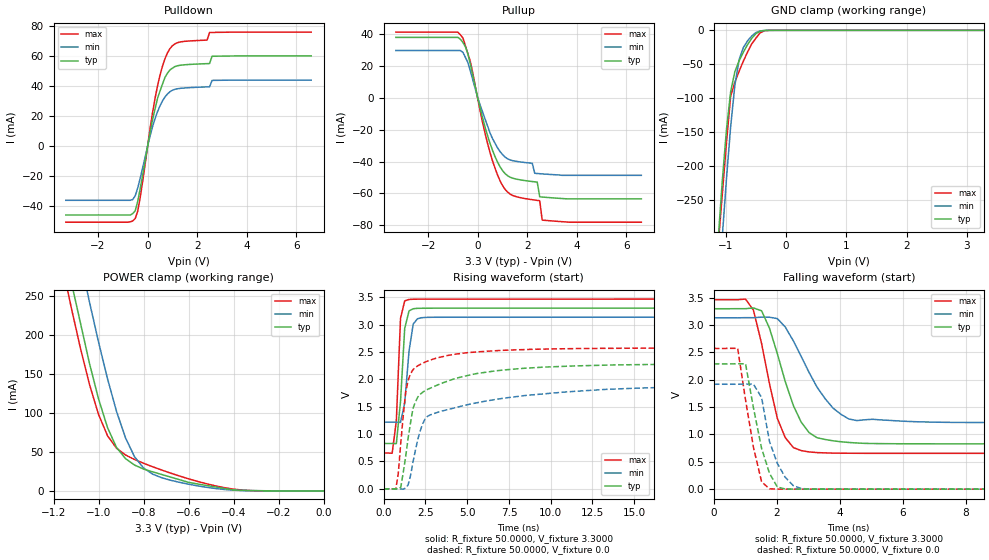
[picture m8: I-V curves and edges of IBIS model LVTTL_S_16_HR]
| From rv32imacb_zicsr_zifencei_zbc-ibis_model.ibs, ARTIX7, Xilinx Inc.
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[Model]  LVTTL_S_16_HR
Model_type I/O
Polarity   Non-Inverting
Enable   Active-Low
Vinl =   0.8000V
Vinh =   2.0000V
Vmeas =  1.4000V
Cref =   0.0F
Rref =   1.0000M
Vref =   0.0V
C_comp   5.2300pF   5.1900pF   5.3600pF
[Temperature Range]   25.0000   85.0000   0.0
[Voltage Range]   3.3000V   3.1350V   3.46500V
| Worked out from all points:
|   slope of the pulldown table from 0 to 0.495 V, typ, clamps not added: 13.5 ohm
|   slope of the pullup table from 0 to 0.495 V, typ, clamps not added: 17.4 ohm
|   GND clamp passes 1 mA (typ) near -0.41 V on its own axis
|   POWER clamp passes 1 mA (typ) near -0.38 V on its own axis
|   rising waveform, R_fixture 50.0000, V_fixture 3.3000: 20-80 % time 315ps typ, 369ps min, 234ps max; typ from 0.829 V to 3.3 V
|   rising waveform, R_fixture 50.0000, V_fixture 0.0: 20-80 % time 1.47ns typ, 3.31ns min, 621ps max; typ from 0 V to 2.29 V
|   falling waveform, R_fixture 50.0000, V_fixture 3.3000: 20-80 % time 854ps typ, 1.13ns min, 658ps max; typ from 3.3 V to 0.829 V
|   falling waveform, R_fixture 50.0000, V_fixture 0.0: 20-80 % time 525ps typ, 543ps min, 467ps max; typ from 2.29 V to 0 V
[Pulldown]
|Voltage   I(typ)   I(min)   I(max)
-3.3V     -45.79mA   -36mA      -50.58mA
-700mV    -45.79mA   -36mA      -50.33mA
-500mV    -42.99mA   -32.98mA   -48.13mA
-300mV    -28.35mA   -21.32mA   -34.26mA
100mV     9.162mA    6.927mA    11.84mA
400mV     31.87mA    23.01mA    40.15mA
700mV     45.84mA    32.78mA    58.29mA
1V        51.99mA    37.29mA    66.91mA
2.4V      55mA       39.51mA    70.74mA
2.5V      55.06mA    39.57mA    75.74mA
2.6V      59.92mA    43.85mA    75.77mA
6.6V      60.21mA    44mA       76.02mA
[Pullup]
|Voltage   I(typ)   I(min)   I(max)
-3.3V     37.8mA     29.58mA    41.11mA
-800mV    37.8mA     29.58mA    41.03mA
-600mV    34.68mA    28.46mA    37.51mA
-300mV    21.11mA    16.86mA    22.89mA
400mV     -23.91mA   -17.89mA   -28.88mA
900mV     -43.28mA   -33.8mA    -52.04mA
1.3V      -49.77mA   -38.95mA   -60.36mA
2.2V      -52.54mA   -41.08mA   -63.92mA
2.4V      -52.89mA   -47.51mA   -64.36mA
2.5V      -62.11mA   -47.63mA   -64.56mA
2.6V      -62.25mA   -47.75mA   -76.71mA
6.6V      -63.38mA   -48.65mA   -78.01mA
[GND_clamp]
|Voltage   I(typ)   I(min)   I(max)
-3.3V     -3.592A    -3.646A    -3.573A
-1.13V    -310.6mA   -396.4mA   -319.4mA
-1.06V    -222.9mA   -304.9mA   -242.5mA
-990mV    -146.4mA   -218.9mA   -165.7mA
-920mV    -90.33mA   -141.8mA   -96.7mA
-850mV    -60.83mA   -80.61mA   -76.38mA
-780mV    -44.89mA   -43.17mA   -60.18mA
-640mV    -21.07mA   -15.49mA   -31.95mA
-500mV    -4.853mA   -3.337mA   -11.34mA
-430mV    -1.242mA   -914.2uA   -3.675mA
-290mV    -20.89uA   -28.76uA   -109.3uA
3.28V     17.73nA    1.486uA    13.72nA
[POWER_clamp]
|Voltage   I(typ)   I(min)   I(max)
-3.28V    3.564A     3.617A     3.545A
-1.16V    321.1mA    407.3mA    287.5mA
-1.12V    266.2mA    350.6mA    233.3mA
-1.08V    214.7mA    295.2mA    182.3mA
-1.04V    163.1mA    241.7mA    136.3mA
-960mV    81.1mA     143.7mA    70.72mA
-920mV    55.68mA    101.9mA    54.75mA
-880mV    41.33mA    67.93mA    46.02mA
-800mV    28.06mA    29.41mA    35.45mA
-680mV    17.75mA    13.71mA    22.87mA
-400mV    1.203mA    965.6uA    2.289mA
0V        0A         0A         0A
[Ramp]
| variable   typ   min   max
dV/dt_r  1.3686/1.4060n   1.1244/2.7962n   1.5444/0.6459n
dV/dt_f  1.4825/0.8334n   1.1502/1.1145n   1.6860/0.6541n
R_load = 50.0000
[Rising Waveform]
R_fixture= 50.0000
V_fixture= 3.3000
V_fixture_min= 3.1350
V_fixture_max= 3.46500
|time   V(typ)   V(min)   V(max)
0s        829.2mV    1.218V     655mV
510ps     829.1mV    1.218V     650.9mV
760ps     826.1mV    1.217V     1.245V
1.01ns    1.596V     1.214V     3.114V
1.26ns    2.929V     1.568V     3.432V
1.52ns    3.249V     2.518V     3.458V
1.77ns    3.288V     3.009V     3.462V
2.02ns    3.296V     3.105V     3.463V
2.27ns    3.297V     3.125V     3.463V
25ns      3.3V       3.134V     3.465V
[Rising Waveform]
R_fixture= 50.0000
V_fixture= 0.0
|time   V(typ)   V(min)   V(max)
0s        0V         793.6nV    0V
730.6ps   -590.3uV   76.07uV    -608.7uV
1.023ns   27.26mV    -697.8uV   833.1mV
1.315ns   583.6mV    13.66mV    1.755V
1.607ns   1.205V     240.5mV    2.101V
1.9ns     1.585V     702.7mV    2.219V
2.484ns   1.794V     1.278V     2.315V
3.653ns   1.948V     1.434V     2.426V
13.74ns   2.262V     1.822V     2.566V
43.69ns   2.287V     1.919V     2.575V
[Falling Waveform]
R_fixture= 50.0000
V_fixture= 3.3000
V_fixture_min= 3.1350
V_fixture_max= 3.46500
|time   V(typ)   V(min)   V(max)
0s        3.3V       3.135V     3.465V
1.01ns    3.301V     3.137V     3.477V
1.26ns    3.315V     3.136V     3.274V
1.52ns    3.262V     3.146V     2.664V
2.02ns    2.478V     3.12V      1.296V
2.27ns    1.972V     2.967V     944.1mV
2.78ns    1.224V     2.424V     705.6mV
3.79ns    884.6mV    1.483V     659.4mV
4.55ns    844.6mV    1.254V     656.4mV
25ns      829.2mV    1.218V     655mV
[Falling Waveform]
R_fixture= 50.0000
V_fixture= 0.0
|time   V(typ)   V(min)   V(max)
0s        2.291V     1.919V     2.574V
760ps     2.294V     1.919V     2.576V
1.01ns    2.293V     1.922V     1.628V
1.26ns    1.49V      1.922V     767.2mV
1.52ns    745.5mV    1.675V     134.2mV
1.77ns    291.4mV    872.4mV    6.505mV
2.02ns    39.44mV    471.7mV    1.035mV
2.27ns    3.622mV    217.9mV    614.1uV
2.78ns    599.1uV    12.02mV    223.2uV
25ns      7.595uV    11.92uV    6.703uV
